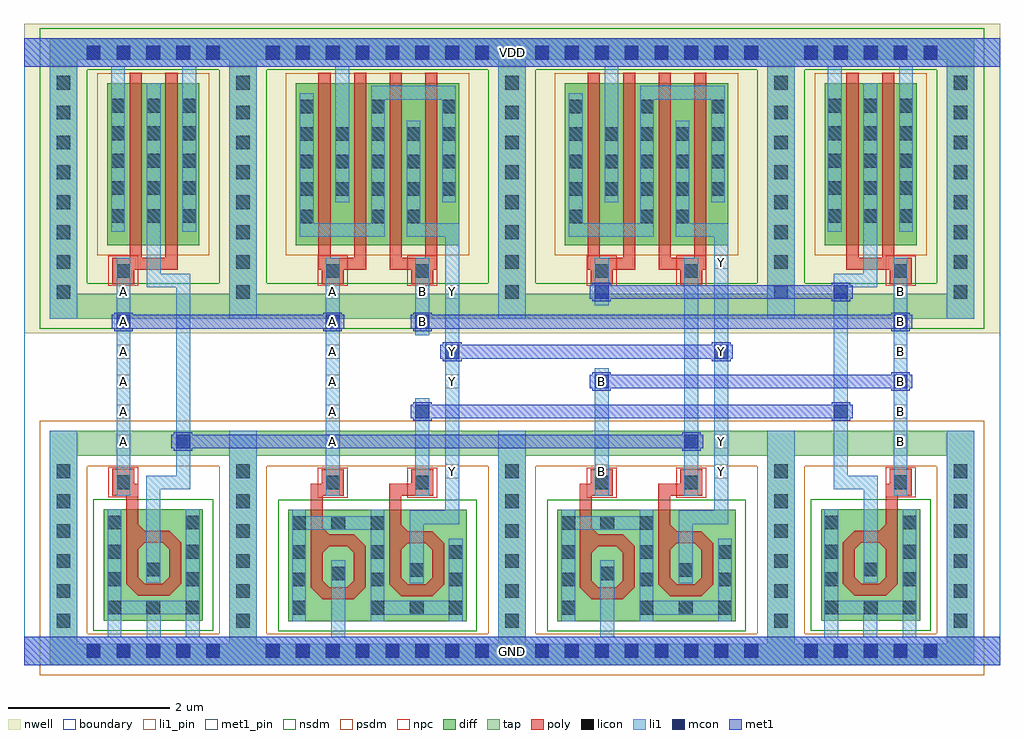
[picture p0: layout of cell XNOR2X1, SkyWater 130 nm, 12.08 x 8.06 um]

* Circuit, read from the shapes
.subckt XNOR2X1 A B GND VDD Y
XM1 GND A n1 GND sky130_fd_pr__nfet_01v8 w=2.56 l=0.147
XM2 n2 A GND GND sky130_fd_pr__nfet_01v8 w=2.6 l=0.1471
XM3 n2 n3 Y GND sky130_fd_pr__nfet_01v8 w=2.56 l=0.1473
XM4 n4 B GND GND sky130_fd_pr__nfet_01v8 w=2.6 l=0.148
XM5 n4 n1 Y GND sky130_fd_pr__nfet_01v8 w=2.56 l=0.1469
XM6 GND B n3 GND sky130_fd_pr__nfet_01v8 w=2.56 l=0.1475
XM7 n1 A VDD VDD sky130_fd_pr__pfet_01v8 w=2 l=0.15 m=2
XM8 VDD A n5 VDD sky130_fd_pr__pfet_01v8 w=2 l=0.15 m=2
XM9 Y B n5 VDD sky130_fd_pr__pfet_01v8 w=2 l=0.15 m=2
XM10 VDD n3 n6 VDD sky130_fd_pr__pfet_01v8 w=2 l=0.15 m=2
XM11 Y n1 n6 VDD sky130_fd_pr__pfet_01v8 w=2 l=0.15 m=2
XM12 n3 B VDD VDD sky130_fd_pr__pfet_01v8 w=2 l=0.15 m=2
.ends

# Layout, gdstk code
from math import pi, radians
import gdstk
lib = gdstk.Library(unit=1e-6, precision=1e-09)
def R(c, l, rs):  # rectangles x0, y0, x1, y1
    for r in rs: c.add(gdstk.rectangle(r[:2], r[2:], *l))
def A(c, l, x, y, w, h, nx, ny, dx, dy):  # array of equal rectangles
    R(c, l, [(x+i*dx, y+j*dy, x+i*dx+w, y+j*dy+h) for i in range(nx) for j in range(ny)])
def P(c, l, *ps):  # polygons
    for p in ps: c.add(gdstk.Polygon(p, *l))
nwell = (64, 20)
diff = (65, 20)
tap = (65, 44)
poly = (66, 20)
licon = (66, 44)
li1_pin = (67, 16)
li1 = (67, 20)
mcon = (67, 44)
met1_pin = (68, 16)
met1 = (68, 20)
nsdm = (93, 44)
psdm = (94, 20)
npc = (95, 20)
boundary = (235, 4)

diff_ring_side = lib.new_cell('diff_ring_side')
R(diff_ring_side, nwell, [(-0.435,3.93,0.435,7.75)])
R(diff_ring_side, tap, [(-0.17,-0.17,0.17,2.72), (-0.17,4.11,0.17,7.57)])
A(diff_ring_side, licon, -0.085, 0.285, 0.17, 0.17, 1, 6, 0, 0.37)
A(diff_ring_side, licon, -0.085, 4.355, 0.17, 0.17, 1, 8, 0, 0.37)
R(diff_ring_side, li1, [(-0.17,-0.17,0.17,2.72), (-0.17,4.11,0.17,7.57)])
R(diff_ring_side, met1, [(-0.17,-0.17,0.17,0.17), (-0.17,7.23,0.17,7.57)])
R(diff_ring_side, nsdm, [(-0.295,3.985,0.295,7.695)])
R(diff_ring_side, psdm, [(-0.295,-0.295,0.295,2.845)])

poly_li1_contact = lib.new_cell('poly_li1_contact')
R(poly_li1_contact, poly, [(-0.16,-0.14,0.17,0.13)])
R(poly_li1_contact, licon, [(-0.08,-0.09,0.09,0.08)])
R(poly_li1_contact, li1, [(-0.16,-0.09,0.17,0.08)])
R(poly_li1_contact, npc, [(-0.18,-0.19,0.19,0.18)])

pmos2 = lib.new_cell('pmos2')
R(pmos2, nwell, [(0.26,-2.18,1.76,0.18)])
R(pmos2, diff, [(0.44,-2,1.58,0)])
R(pmos2, poly, [(0.72,-2.305,1.31,-2.155), (0.72,-2.155,0.87,0.13), (1.16,-2.155,1.31,0.13)])
A(pmos2, licon, 0.49, -1.38, 0.17, 0.17, 3, 4, 0.44, 0.34)
R(pmos2, li1, [(0.49,-1.465,0.66,0.21), (0.93,-1.465,1.1,0), (1.37,-1.465,1.54,0.21)])
R(pmos2, psdm, [(0.315,-2.125,1.705,0.125)])

nmos_top = lib.new_cell('nmos_top')
R(nmos_top, diff, [(0,0,1.23,1.38)])
R(nmos_top, poly, [(0.42,0.31,0.8,0.46), (0.27,0.46,0.42,0.965), (0.8,0.46,0.95,0.965), (0.42,0.965,0.95,1.115), (0.8,1.115,0.95,1.54)])
P(nmos_top, poly, [(0.72,1.115),(0.8,1.115),(0.8,1.195)],
  [(0.27,0.965),(0.42,0.965),(0.42,1.115)],
  [(0.42,0.885),(0.42,0.965),(0.5,0.965)],
  [(0.72,0.965),(0.8,0.965),(0.8,0.885)],
  [(0.42,0.54),(0.42,0.46),(0.5,0.46)],
  [(0.72,0.46),(0.8,0.46),(0.8,0.54)],
  [(0.27,0.46),(0.42,0.46),(0.42,0.31)],
  [(0.8,0.31),(0.8,0.46),(0.95,0.46)])
R(nmos_top, licon, [(0.04,0.08,0.21,0.25), (0.53,0.08,0.7,0.25), (1.01,0.08,1.18,0.25), (0.04,0.43,0.21,0.6), (1.01,0.43,1.18,0.6), (0.53,0.55,0.7,0.72), (0.04,0.77,0.21,0.94), (1.01,0.77,1.18,0.94), (0.04,1.13,0.21,1.3), (1.01,1.13,1.18,1.3)])
R(nmos_top, li1, [(0.04,0,0.21,0.08), (1.01,0,1.18,0.08), (0.04,0.08,1.18,0.25), (0.04,0.25,0.21,1.38), (1.01,0.25,1.18,1.38), (0.53,0.47,0.7,0.805)])
R(nmos_top, nsdm, [(-0.125,-0.125,1.355,1.505)])

invx1_pcell = lib.new_cell('invx1_pcell')
R(invx1_pcell, nwell, [(-0.435,3.93,2.655,7.75)])
A(invx1_pcell, diff, 0.59, 5.295, 0.17, 0.17, 3, 1, 0.44, 0)
R(invx1_pcell, tap, [(0.17,-0.17,2.05,0.085), (0.17,2.41,2.05,2.72), (0.17,4.11,2.05,4.42), (0.17,7.315,2.05,7.57)])
R(invx1_pcell, poly, [(0.775,1.905,0.925,2.065)])
A(invx1_pcell, licon, 0.285, -0.085, 0.17, 0.17, 5, 2, 0.37, 7.4)
A(invx1_pcell, licon, 0.59, 5.295, 0.17, 0.17, 3, 1, 0.44, 0)
R(invx1_pcell, li1, [(0.17,-0.17,2.05,0.17), (0.545,0.17,0.715,0.45), (1.03,0.17,1.2,0.455), (1.515,0.17,1.685,0.45), (1.025,1.165,1.195,1.995), (1.025,1.995,1.565,2.165), (1.395,2.165,1.565,4.495), (0.655,2.245,0.825,4.54), (1.03,4.495,1.565,4.665), (1.03,4.665,1.2,5.555), (0.59,5.185,0.76,5.555), (1.47,5.185,1.64,5.555), (0.17,7.23,2.05,7.57)])
A(invx1_pcell, mcon, 0.285, -0.085, 0.17, 0.17, 5, 2, 0.37, 7.4)
R(invx1_pcell, met1, [(0.17,-0.17,2.05,0.17), (0.17,7.23,2.05,7.57)])
R(invx1_pcell, nsdm, [(0.045,3.985,2.175,4.545), (0.045,7.19,2.175,7.695)])
R(invx1_pcell, psdm, [(0.045,-0.295,2.175,0.21), (0.045,2.285,2.175,2.845), (0.465,5.17,1.765,5.59)])
invx1_pcell.add(gdstk.Reference(poly_li1_contact, (0.735,2.08), rotation=pi/2))
invx1_pcell.add(gdstk.Reference(poly_li1_contact, (0.745,4.705), rotation=3*pi/2))
invx1_pcell.add(gdstk.Reference(pmos2, (0.1,7.02)))
invx1_pcell.add(gdstk.Reference(nmos_top, (1.725,0.37), rotation=pi, x_reflection=True))
invx1_pcell.add(gdstk.Reference(diff_ring_side, (0,0)))
invx1_pcell.add(gdstk.Reference(diff_ring_side, (2.22,0)))

li1_m1_contact = lib.new_cell('li1_M1_contact')
R(li1_m1_contact, li1, [(-0.085,-0.165,0.085,0.165)])
R(li1_m1_contact, mcon, [(-0.085,-0.085,0.085,0.085)])
R(li1_m1_contact, met1, [(-0.115,-0.115,0.115,-0.085), (-0.265,-0.085,0.145,0.085), (-0.115,0.085,0.115,0.115)])

pmos2_1 = lib.new_cell('pmos2_1')
R(pmos2_1, nwell, [(0.26,-2.175,1.76,0.185)])
R(pmos2_1, diff, [(0.44,-1.995,1.58,0.005)])
R(pmos2_1, poly, [(0.72,-2.3,1.31,-2.15), (0.72,-2.15,0.87,0.135), (1.16,-2.15,1.31,0.135)])
A(pmos2_1, licon, 0.49, -1.385, 0.17, 0.17, 3, 3, 0.44, 0.34)
A(pmos2_1, li1, 0.49, -1.465, 0.17, 1.01, 3, 1, 0.44, 0)
R(pmos2_1, psdm, [(0.315,-2.12,1.705,0.13)])

nmos_top_trim1 = lib.new_cell('nmos_top_trim1')
R(nmos_top_trim1, diff, [(0,0,1.24,1.38)])
R(nmos_top_trim1, poly, [(0.43,0.31,0.81,0.46), (0.28,0.46,0.43,0.965), (0.81,0.46,0.96,0.965), (0.43,0.965,0.96,1.115), (0.81,1.115,0.96,1.545)])
P(nmos_top_trim1, poly, [(0.73,1.115),(0.81,1.115),(0.81,1.195)],
  [(0.28,0.965),(0.43,0.965),(0.43,1.115)],
  [(0.43,0.885),(0.43,0.965),(0.51,0.965)],
  [(0.73,0.965),(0.81,0.965),(0.81,0.885)],
  [(0.43,0.54),(0.43,0.46),(0.51,0.46)],
  [(0.73,0.46),(0.81,0.46),(0.81,0.54)],
  [(0.28,0.46),(0.43,0.46),(0.43,0.31)],
  [(0.81,0.31),(0.81,0.46),(0.96,0.46)])
A(nmos_top_trim1, licon, 0.05, 0.08, 0.17, 0.17, 3, 1, 0.485, 0)
R(nmos_top_trim1, licon, [(0.05,0.43,0.22,0.6), (1.02,0.43,1.19,0.6), (0.535,0.55,0.705,0.72), (0.05,0.77,0.22,0.94), (1.02,0.77,1.19,0.94), (1.02,1.13,1.19,1.3)])
R(nmos_top_trim1, li1, [(0.05,0,0.22,0.08), (1.02,0,1.19,0.08), (0.05,0.08,1.19,0.25), (0.05,0.25,0.22,1.02), (1.02,0.25,1.19,1.38), (0.535,0.47,0.705,0.805)])
R(nmos_top_trim1, nsdm, [(-0.125,-0.125,1.365,1.505)])

nmos_bottom = lib.new_cell('nmos_bottom')
R(nmos_bottom, diff, [(0,0,1.24,1.38)])
R(nmos_bottom, poly, [(0.43,0.27,0.81,0.42), (0.28,0.42,0.43,0.925), (0.81,0.42,0.96,0.925), (0.43,0.925,0.96,1.075), (0.81,1.075,0.96,1.51)])
P(nmos_bottom, poly, [(0.73,1.075),(0.81,1.075),(0.81,1.155)],
  [(0.28,0.925),(0.43,0.925),(0.43,1.075)],
  [(0.43,0.845),(0.43,0.925),(0.51,0.925)],
  [(0.73,0.925),(0.81,0.925),(0.81,0.845)],
  [(0.43,0.5),(0.43,0.42),(0.51,0.42)],
  [(0.73,0.42),(0.81,0.42),(0.81,0.5)],
  [(0.28,0.42),(0.43,0.42),(0.43,0.27)],
  [(0.81,0.27),(0.81,0.42),(0.96,0.42)])
A(nmos_bottom, licon, 0.05, 1.13, 0.17, 0.17, 3, 1, 0.485, 0)
R(nmos_bottom, licon, [(0.05,0.08,0.22,0.25), (1.02,0.08,1.19,0.25), (0.05,0.43,0.22,0.6), (1.02,0.43,1.19,0.6), (0.535,0.505,0.705,0.675), (0.05,0.77,0.22,0.94), (1.02,0.77,1.19,0.94)])
R(nmos_bottom, li1, [(0.05,0,0.22,1.13), (1.02,0,1.19,1.13), (0.535,0.425,0.705,0.755), (0.05,1.13,1.19,1.3), (0.05,1.3,0.22,1.38), (1.02,1.3,1.19,1.38)])
R(nmos_bottom, nsdm, [(-0.125,-0.125,1.365,1.505)])

xnor2x1_pcell = lib.new_cell('xnor2x1_pcell')
R(xnor2x1_pcell, nwell, [(2.655,3.93,8.445,4.125), (2.64,4.125,5.13,4.84), (5.97,4.125,8.46,4.84), (2.64,4.84,2.695,7.195), (5.075,4.84,5.13,7.195), (5.97,4.84,6.025,7.2), (8.405,4.84,8.46,7.2), (2.925,6.65,3.095,6.82), (2.64,7.195,5.13,7.23), (5.97,7.2,8.46,7.23), (2.39,7.23,5.38,7.57), (5.72,7.23,8.71,7.57), (2.64,7.57,5.13,7.66), (5.97,7.57,8.46,7.66), (2.655,7.66,8.445,7.75)])
A(xnor2x1_pcell, diff, 2.925, 6.65, 0.17, 0.17, 3, 1, 0.88, 0)
A(xnor2x1_pcell, diff, 6.255, 6.65, 0.17, 0.17, 3, 1, 0.88, 0)
R(xnor2x1_pcell, diff, [(2.925,5.29,3.095,5.46), (3.805,5.29,3.975,5.46), (4.245,5.29,4.415,5.46), (6.255,5.29,6.425,5.46), (7.135,5.29,7.305,5.46), (7.575,5.29,7.745,5.46)])
R(xnor2x1_pcell, tap, [(2.39,-0.17,5.38,0.085), (5.72,-0.17,8.71,0.085), (2.39,2.41,5.395,2.72), (5.705,2.41,8.71,2.72), (2.39,4.11,5.395,4.42), (5.705,4.11,8.71,4.42), (2.39,7.315,5.38,7.57), (5.72,7.315,8.71,7.57)])
R(xnor2x1_pcell, poly, [(3.06,1.875,3.21,1.915), (6.39,1.875,6.54,1.915), (4.03,1.91,4.18,1.915), (7.36,1.91,7.51,1.915), (3.06,1.915,3.195,2.065), (4.03,1.915,4.305,2.065), (6.39,1.915,6.525,2.065), (7.36,1.915,7.635,2.065)])
A(xnor2x1_pcell, licon, 2.505, -0.085, 0.17, 0.17, 8, 2, 0.37, 7.4)
A(xnor2x1_pcell, licon, 5.835, -0.085, 0.17, 0.17, 8, 2, 0.37, 7.4)
A(xnor2x1_pcell, licon, 2.925, 6.65, 0.17, 0.17, 3, 1, 0.88, 0)
A(xnor2x1_pcell, licon, 6.255, 6.65, 0.17, 0.17, 3, 1, 0.88, 0)
R(xnor2x1_pcell, licon, [(2.925,5.29,3.095,5.46), (3.805,5.29,3.975,5.46), (4.245,5.29,4.415,5.46), (6.255,5.29,6.425,5.46), (7.135,5.29,7.305,5.46), (7.575,5.29,7.745,5.46)])
R(xnor2x1_pcell, li1, [(2.39,-0.17,5.38,0.17), (5.72,-0.17,8.71,0.17), (3.315,0.17,3.485,0.87), (6.645,0.17,6.815,0.87), (4.285,1.08,4.455,1.565), (7.615,1.08,7.785,1.565), (4.285,1.565,4.895,1.735), (7.615,1.565,8.225,1.735), (4.725,1.735,4.895,5.12), (8.055,1.735,8.225,5.12), (6.575,2.22,6.745,3.17), (3.245,2.235,3.415,4.535), (7.685,2.24,7.855,4.535), (4.355,2.245,4.525,3.085), (4.355,4.125,4.525,4.535), (6.575,4.31,6.745,4.535), (2.925,5.12,3.975,5.29), (4.245,5.12,4.895,5.29), (6.255,5.12,7.305,5.29), (7.575,5.12,8.225,5.29), (2.925,5.29,3.095,5.55), (3.805,5.29,3.975,5.55), (4.245,5.29,4.415,5.55), (6.255,5.29,6.425,5.55), (7.135,5.29,7.305,5.55), (7.575,5.29,7.745,5.55), (2.925,6.56,3.095,6.9), (3.365,6.56,3.535,7.23), (3.805,6.56,3.975,6.82), (4.685,6.56,4.855,6.82), (6.255,6.56,6.425,6.9), (6.695,6.56,6.865,7.23), (7.135,6.56,7.305,6.82), (8.015,6.56,8.185,6.82), (3.805,6.82,4.855,6.99), (7.135,6.82,8.185,6.99), (2.39,7.23,5.38,7.57), (5.72,7.23,8.71,7.57)])
A(xnor2x1_pcell, mcon, 2.505, -0.085, 0.17, 0.17, 8, 2, 0.37, 7.4)
A(xnor2x1_pcell, mcon, 5.835, -0.085, 0.17, 0.17, 8, 2, 0.37, 7.4)
R(xnor2x1_pcell, met1, [(2.39,-0.17,5.38,0.17), (5.72,-0.17,8.71,0.17), (1.575,2.505,7.56,2.675), (4.525,2.875,9.41,3.045), (6.86,3.245,10.265,3.415), (4.905,3.615,7.93,3.785), (0.935,3.985,3.115,4.155), (4.695,3.985,10.11,4.155), (6.89,4.355,9.525,4.525), (2.39,7.23,5.38,7.57), (5.72,7.23,8.71,7.57)])
R(xnor2x1_pcell, nsdm, [(2.265,3.985,8.835,4.545), (2.265,7.19,8.835,7.695)])
A(xnor2x1_pcell, psdm, 2.8, 6.525, 0.42, 0.42, 3, 1, 0.88, 0)
A(xnor2x1_pcell, psdm, 6.13, 6.525, 0.42, 0.42, 3, 1, 0.88, 0)
R(xnor2x1_pcell, psdm, [(2.265,-0.295,8.835,0.21), (2.265,2.285,8.835,2.845), (2.8,5.165,3.22,5.585), (3.68,5.165,4.54,5.585), (6.13,5.165,6.55,5.585), (7.01,5.165,7.87,5.585)])
xnor2x1_pcell.add(gdstk.Reference(diff_ring_side, (2.22,0)))
xnor2x1_pcell.add(gdstk.Reference(invx1_pcell, (0,0)))
xnor2x1_pcell.add(gdstk.Reference(li1_m1_contact, (0.74,4.07), rotation=pi))
xnor2x1_pcell.add(gdstk.Reference(li1_m1_contact, (1.48,2.59), rotation=pi))
xnor2x1_pcell.add(gdstk.Reference(poly_li1_contact, (3.335,2.085), rotation=3*pi/2))
xnor2x1_pcell.add(gdstk.Reference(poly_li1_contact, (3.335,4.705), rotation=3*pi/2))
xnor2x1_pcell.add(gdstk.Reference(pmos2_1, (3.315,7.015)))
xnor2x1_pcell.add(gdstk.Reference(pmos2_1, (2.435,7.015)))
xnor2x1_pcell.add(gdstk.Reference(nmos_top_trim1, (4.99,0.365), rotation=pi, x_reflection=True))
xnor2x1_pcell.add(gdstk.Reference(nmos_bottom, (4.02,0.365), rotation=pi, x_reflection=True))
xnor2x1_pcell.add(gdstk.Reference(li1_m1_contact, (3.33,4.07)))
xnor2x1_pcell.add(gdstk.Reference(poly_li1_contact, (4.445,4.705), rotation=3*pi/2))
xnor2x1_pcell.add(gdstk.Reference(poly_li1_contact, (4.445,2.085), rotation=3*pi/2))
xnor2x1_pcell.add(gdstk.Reference(li1_m1_contact, (4.44,2.96), rotation=pi))
xnor2x1_pcell.add(gdstk.Reference(li1_m1_contact, (4.81,3.7), rotation=pi))
xnor2x1_pcell.add(gdstk.Reference(li1_m1_contact, (4.44,4.07), rotation=pi))
xnor2x1_pcell.add(gdstk.Reference(diff_ring_side, (5.55,0)))
xnor2x1_pcell.add(gdstk.Reference(poly_li1_contact, (6.665,4.705), rotation=3*pi/2))
xnor2x1_pcell.add(gdstk.Reference(poly_li1_contact, (6.665,2.085), rotation=3*pi/2))
xnor2x1_pcell.add(gdstk.Reference(pmos2_1, (6.645,7.015)))
xnor2x1_pcell.add(gdstk.Reference(pmos2_1, (5.765,7.015)))
xnor2x1_pcell.add(gdstk.Reference(nmos_top_trim1, (8.32,0.365), rotation=pi, x_reflection=True))
xnor2x1_pcell.add(gdstk.Reference(nmos_bottom, (7.35,0.365), rotation=pi, x_reflection=True))
xnor2x1_pcell.add(gdstk.Reference(li1_m1_contact, (6.66,3.33), rotation=pi))
xnor2x1_pcell.add(gdstk.Reference(li1_m1_contact, (6.66,4.44), rotation=pi))
xnor2x1_pcell.add(gdstk.Reference(poly_li1_contact, (7.775,4.705), rotation=3*pi/2))
xnor2x1_pcell.add(gdstk.Reference(poly_li1_contact, (7.775,2.085), rotation=3*pi/2))
xnor2x1_pcell.add(gdstk.Reference(li1_m1_contact, (8.14,3.7)))
xnor2x1_pcell.add(gdstk.Reference(li1_m1_contact, (7.77,2.59)))
xnor2x1_pcell.add(gdstk.Reference(diff_ring_side, (8.88,0)))
xnor2x1_pcell.add(gdstk.Reference(invx1_pcell, (11.1,0), rotation=pi, x_reflection=True))
xnor2x1_pcell.add(gdstk.Reference(li1_m1_contact, (9.62,2.96)))
xnor2x1_pcell.add(gdstk.Reference(li1_m1_contact, (10.36,4.07)))
xnor2x1_pcell.add(gdstk.Reference(li1_m1_contact, (9.62,4.44)))
xnor2x1_pcell.add(gdstk.Reference(li1_m1_contact, (10.36,3.33)))

xnor2x1 = lib.new_cell('XNOR2X1')
R(xnor2x1, nwell, [(0,4.11,12.08,7.94)])
R(xnor2x1, tap, [(0.32,0,11.76,0.045), (0.32,7.745,11.76,7.76)])
A(xnor2x1, li1_pin, 1.145, 2.685, 0.17, 0.17, 1, 6, 0, 0.37)
A(xnor2x1, li1_pin, 3.735, 2.685, 0.17, 0.17, 1, 6, 0, 0.37)
A(xnor2x1, li1_pin, 8.545, 2.685, 0.17, 0.17, 1, 3, 0, 1.11)
A(xnor2x1, li1_pin, 10.765, 2.685, 0.17, 0.17, 1, 6, 0, 0.37)
R(xnor2x1, li1_pin, [(5.215,2.315,5.385,2.485), (7.065,2.315,7.235,2.485), (8.545,2.315,8.715,2.485), (5.215,3.425,5.385,3.595), (7.065,3.425,7.235,3.595), (5.215,3.795,5.385,3.965), (4.845,4.165,5.015,4.335), (4.845,4.535,5.015,4.705), (5.215,4.535,5.385,4.705)])
A(xnor2x1, li1, 1.145, 2.685, 0.17, 0.17, 1, 6, 0, 0.37)
A(xnor2x1, li1, 3.735, 2.685, 0.17, 0.17, 1, 6, 0, 0.37)
A(xnor2x1, li1, 8.545, 2.685, 0.17, 0.17, 1, 3, 0, 1.11)
A(xnor2x1, li1, 10.765, 2.685, 0.17, 0.17, 1, 6, 0, 0.37)
R(xnor2x1, li1, [(0,0,12.08,0.085), (0,0.085,0.45,0.35), (11.58,0.085,12.08,0.35), (5.215,2.315,5.385,2.485), (7.065,2.315,7.235,2.485), (8.545,2.315,8.715,2.485), (5.215,3.425,5.385,3.595), (7.065,3.425,7.235,3.595), (5.215,3.795,5.385,3.965), (4.845,4.165,5.015,4.335), (4.845,4.535,5.015,4.705), (5.215,4.535,5.385,4.705), (0,7.41,0.46,7.675), (11.6,7.41,12.08,7.675), (0,7.675,12.08,7.76)])
R(xnor2x1, met1_pin, [(0,0,12.08,0.35), (0,7.41,12.08,7.76)])
R(xnor2x1, met1, [(0,0,12.08,0.35), (0,7.41,12.08,7.76)])
R(xnor2x1, nsdm, [(0.195,7.62,11.885,7.885)])
R(xnor2x1, psdm, [(0.195,-0.125,11.885,0.17)])
R(xnor2x1, boundary, [(0,0,12.08,7.76)])
xnor2x1.add(gdstk.Reference(xnor2x1_pcell, (0.49,0.18)))
xnor2x1.add(gdstk.Label('Y', (5.3,4.62), layer=67, texttype=5))
xnor2x1.add(gdstk.Label('Y', (5.3,2.4), layer=67, texttype=5))
xnor2x1.add(gdstk.Label('Y', (5.3,3.51), layer=67, texttype=5))
xnor2x1.add(gdstk.Label('Y', (5.3,3.88), layer=67, texttype=5))
xnor2x1.add(gdstk.Label('Y', (8.63,4.99), layer=67, texttype=5))
xnor2x1.add(gdstk.Label('Y', (8.63,2.4), layer=67, texttype=5))
xnor2x1.add(gdstk.Label('Y', (8.63,2.77), layer=67, texttype=5))
xnor2x1.add(gdstk.Label('Y', (8.63,3.88), layer=67, texttype=5))
xnor2x1.add(gdstk.Label('A', (3.82,4.62), layer=67, texttype=5))
xnor2x1.add(gdstk.Label('A', (3.82,4.25), layer=67, texttype=5))
xnor2x1.add(gdstk.Label('A', (3.82,3.88), layer=67, texttype=5))
xnor2x1.add(gdstk.Label('A', (3.82,3.51), layer=67, texttype=5))
xnor2x1.add(gdstk.Label('A', (3.82,3.14), layer=67, texttype=5))
xnor2x1.add(gdstk.Label('A', (3.82,2.77), layer=67, texttype=5))
xnor2x1.add(gdstk.Label('A', (1.23,2.77), layer=67, texttype=5))
xnor2x1.add(gdstk.Label('A', (1.23,3.14), layer=67, texttype=5))
xnor2x1.add(gdstk.Label('A', (1.23,3.51), layer=67, texttype=5))
xnor2x1.add(gdstk.Label('A', (1.23,3.88), layer=67, texttype=5))
xnor2x1.add(gdstk.Label('A', (1.23,4.25), layer=67, texttype=5))
xnor2x1.add(gdstk.Label('A', (1.23,4.62), layer=67, texttype=5))
xnor2x1.add(gdstk.Label('B', (4.93,4.62), layer=67, texttype=5))
xnor2x1.add(gdstk.Label('B', (7.15,2.4), layer=67, texttype=5))
xnor2x1.add(gdstk.Label('B', (7.15,3.51), layer=67, texttype=5))
xnor2x1.add(gdstk.Label('B', (4.93,4.25), layer=67, texttype=5))
xnor2x1.add(gdstk.Label('B', (10.85,4.62), layer=67, texttype=5))
xnor2x1.add(gdstk.Label('B', (10.85,4.25), layer=67, texttype=5))
xnor2x1.add(gdstk.Label('B', (10.85,2.77), layer=67, texttype=5))
xnor2x1.add(gdstk.Label('B', (10.85,3.88), layer=67, texttype=5))
xnor2x1.add(gdstk.Label('B', (10.85,3.14), layer=67, texttype=5))
xnor2x1.add(gdstk.Label('B', (10.85,3.51), layer=67, texttype=5))
xnor2x1.add(gdstk.Label('VDD', (6.04,7.585), layer=68, texttype=5))
xnor2x1.add(gdstk.Label('GND', (6.04,0.175), layer=68, texttype=5))

lib.write_gds('XNOR2X1.gds')
